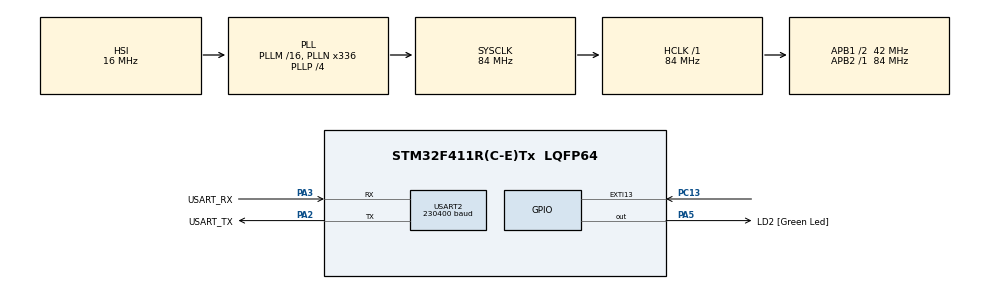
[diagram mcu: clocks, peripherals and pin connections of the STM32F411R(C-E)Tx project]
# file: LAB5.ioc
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Dma.Request0=USART2_TX
Dma.USART2_TX.0.Direction=DMA_MEMORY_TO_PERIPH
Dma.USART2_TX.0.FIFOMode=DMA_FIFOMODE_DISABLE
Dma.USART2_TX.0.Instance=DMA1_Stream6
Dma.USART2_TX.0.MemDataAlignment=DMA_MDATAALIGN_BYTE
Dma.USART2_TX.0.MemInc=DMA_MINC_ENABLE
Dma.USART2_TX.0.Mode=DMA_NORMAL
Dma.USART2_TX.0.PeriphDataAlignment=DMA_PDATAALIGN_BYTE
Dma.USART2_TX.0.PeriphInc=DMA_PINC_DISABLE
Dma.USART2_TX.0.Priority=DMA_PRIORITY_LOW
Mcu.Family=STM32F4
Mcu.Name=STM32F411R(C-E)Tx
Mcu.Package=LQFP64
NVIC.DMA1_Stream6_IRQn=true\:0\:0\:false\:false\:true\:false\:true\:true
NVIC.EXTI15_10_IRQn=true\:0\:0\:false\:false\:true\:true\:true\:true
NVIC.PriorityGroup=NVIC_PRIORITYGROUP_0
NVIC.USART2_IRQn=true\:0\:0\:false\:false\:true\:true\:true\:true
PA13.GPIO_Label=TMS
PA13.Mode=Serial_Wire
PA13.Signal=SYS_JTMS-SWDIO
PA14.GPIO_Label=TCK
PA14.Mode=Serial_Wire
PA14.Signal=SYS_JTCK-SWCLK
PA2.GPIO_Label=USART_TX
PA2.Mode=Asynchronous
PA2.Signal=USART2_TX
PA3.GPIO_Label=USART_RX
PA3.Mode=Asynchronous
PA3.Signal=USART2_RX
PA5.GPIO_Label=LD2 [Green Led]
PA5.Signal=GPIO_Output
PB3.GPIO_Label=SWO
PB3.Signal=SYS_JTDO-SWO
PC13-ANTI_TAMP.GPIO_ModeDefaultEXTI=GPIO_MODE_IT_RISING_FALLING
PC13-ANTI_TAMP.Signal=GPXTI13
PC14-OSC32_IN.Mode=LSE-External-Oscillator
PC14-OSC32_IN.Signal=RCC_OSC32_IN
PC15-OSC32_OUT.Mode=LSE-External-Oscillator
PC15-OSC32_OUT.Signal=RCC_OSC32_OUT
PH0\ -\ OSC_IN.Mode=HSE-External-Clock-Source
PH0\ -\ OSC_IN.Signal=RCC_OSC_IN
PH1\ -\ OSC_OUT.Mode=HSE-External-Clock-Source
PH1\ -\ OSC_OUT.Signal=RCC_OSC_OUT
ProjectManager.HeapSize=0x200
ProjectManager.StackSize=0x400
ProjectManager.TargetToolchain=STM32CubeIDE
RCC.48MHZClocksFreq_Value=84000000
RCC.AHBFreq_Value=84000000
RCC.APB1CLKDivider=RCC_HCLK_DIV2
RCC.APB1Freq_Value=42000000
RCC.APB1TimFreq_Value=84000000
RCC.APB2Freq_Value=84000000
RCC.APB2TimFreq_Value=84000000
RCC.CortexFreq_Value=84000000
RCC.FLatency-AdvancedSettings=FLASH_LATENCY_2
RCC.HCLKFreq_Value=84000000
RCC.HSE_VALUE=8000000
RCC.HSI_VALUE=16000000
RCC.PLLN=336
RCC.PLLP=RCC_PLLP_DIV4
RCC.SYSCLKFreq_VALUE=84000000
RCC.SYSCLKSource=RCC_SYSCLKSOURCE_PLLCLK
RCC.VCOOutputFreq_Value=336000000
USART2.BaudRate=230400
USART2.VirtualMode=VM_ASYNC
board=NUCLEO-F411RE

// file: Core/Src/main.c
/* USER CODE BEGIN Header */
/**
  ******************************************************************************
  * @file           : main.c
  * @brief          : Main program body
  ******************************************************************************
  * @attention
  *
  * Copyright (c) 2023 STMicroelectronics.
  * All rights reserved.
  *
  * This software is licensed under terms that can be found in the LICENSE file
  * in the root directory of this software component.
  * If no LICENSE file comes with this software, it is provided AS-IS.
  *
  ******************************************************************************
  */
/* USER CODE END Header */
#include "main.h"

/* USER CODE BEGIN Includes */
#include "stdio.h"
#include "string.h"
/* USER CODE END Includes */

UART_HandleTypeDef huart2;
DMA_HandleTypeDef hdma_usart2_tx;

/* USER CODE BEGIN PV */
uint8_t RxBuffer;
uint8_t TxBuffer[100];
/* USER CODE END PV */

void SystemClock_Config(void);
static void MX_GPIO_Init(void);
static void MX_DMA_Init(void);
static void MX_USART2_UART_Init(void);
/* USER CODE BEGIN PFP */
void BlinkLED();
void UARTConfig();
/* USER CODE END PFP */

/* USER CODE BEGIN 0 */
uint16_t frequency = 1;

enum
{
	LED_ON = 0,
	LED_OFF = 1,
	Button_check = 2
};
uint16_t state = LED_ON;
uint16_t last_state;

/* USER CODE END 0 */

int main(void)
{

  /* MCU Configuration--------------------------------------------------------*/

  /* Reset of all peripherals, Initializes the Flash interface and the Systick. */
  HAL_Init();

  /* Configure the system clock */
  SystemClock_Config();

  /* Initialize all configured peripherals */
  MX_GPIO_Init();
  MX_DMA_Init();
  MX_USART2_UART_Init();
  /* USER CODE BEGIN 2 */
  UARTConfig();
  HAL_UART_Transmit_DMA(&huart2,  " a : speed up\r\n s : speed down\r\n d : off\r\n x : button status\r\n\r\n\r\n\r\n\r\n\r\n\r\n\r\n\r\n\r\n\r\n\r\n\r\n\r\n",
  													strlen(" a : speed up\r\n s : speed down\r\n d : off\r\n x : button status\r\n\r\n\r\n\r\n\r\n\r\n\r\n\r\n\r\n\r\n\r\n\r\n\r\n\r\n"));
  /* USER CODE END 2 */

  /* Infinite loop */
	while (1)
	{
		switch (state) {
			case LED_ON:
				BlinkLED();
				break;
			case LED_OFF:
				HAL_GPIO_WritePin(GPIOA, GPIO_PIN_5, 0);
			case Button_check:
				BlinkLED();
			default:
				break;
  }
}
}

void SystemClock_Config(void)
{
  RCC_OscInitTypeDef RCC_OscInitStruct = {0};
  RCC_ClkInitTypeDef RCC_ClkInitStruct = {0};

  /** Configure the main internal regulator output voltage
  */
  __HAL_RCC_PWR_CLK_ENABLE();
  __HAL_PWR_VOLTAGESCALING_CONFIG(PWR_REGULATOR_VOLTAGE_SCALE1);

  /** Initializes the RCC Oscillators according to the specified parameters
  * in the RCC_OscInitTypeDef structure.
  */
  RCC_OscInitStruct.OscillatorType = RCC_OSCILLATORTYPE_HSI;
  RCC_OscInitStruct.HSIState = RCC_HSI_ON;
  RCC_OscInitStruct.HSICalibrationValue = RCC_HSICALIBRATION_DEFAULT;
  RCC_OscInitStruct.PLL.PLLState = RCC_PLL_ON;
  RCC_OscInitStruct.PLL.PLLSource = RCC_PLLSOURCE_HSI;
  RCC_OscInitStruct.PLL.PLLM = 16;
  RCC_OscInitStruct.PLL.PLLN = 336;
  RCC_OscInitStruct.PLL.PLLP = RCC_PLLP_DIV4;
  RCC_OscInitStruct.PLL.PLLQ = 4;
  if (HAL_RCC_OscConfig(&RCC_OscInitStruct) != HAL_OK)
  {
    Error_Handler();
  }

  /** Initializes the CPU, AHB and APB buses clocks
  */
  RCC_ClkInitStruct.ClockType = RCC_CLOCKTYPE_HCLK|RCC_CLOCKTYPE_SYSCLK
                              |RCC_CLOCKTYPE_PCLK1|RCC_CLOCKTYPE_PCLK2;
  RCC_ClkInitStruct.SYSCLKSource = RCC_SYSCLKSOURCE_PLLCLK;
  RCC_ClkInitStruct.AHBCLKDivider = RCC_SYSCLK_DIV1;
  RCC_ClkInitStruct.APB1CLKDivider = RCC_HCLK_DIV2;
  RCC_ClkInitStruct.APB2CLKDivider = RCC_HCLK_DIV1;

  if (HAL_RCC_ClockConfig(&RCC_ClkInitStruct, FLASH_LATENCY_2) != HAL_OK)
  {
    Error_Handler();
  }
}

static void MX_USART2_UART_Init(void)
{

  huart2.Instance = USART2;
  huart2.Init.BaudRate = 230400;
  huart2.Init.WordLength = UART_WORDLENGTH_8B;
  huart2.Init.StopBits = UART_STOPBITS_1;
  huart2.Init.Parity = UART_PARITY_NONE;
  huart2.Init.Mode = UART_MODE_TX_RX;
  huart2.Init.HwFlowCtl = UART_HWCONTROL_NONE;
  huart2.Init.OverSampling = UART_OVERSAMPLING_16;
  if (HAL_UART_Init(&huart2) != HAL_OK)
  {
    Error_Handler();
  }

}

static void MX_DMA_Init(void)
{

  /* DMA controller clock enable */
  __HAL_RCC_DMA1_CLK_ENABLE();

  /* DMA interrupt init */
  /* DMA1_Stream6_IRQn interrupt configuration */
  HAL_NVIC_SetPriority(DMA1_Stream6_IRQn, 0, 0);
  HAL_NVIC_EnableIRQ(DMA1_Stream6_IRQn);

}

static void MX_GPIO_Init(void)
{
  GPIO_InitTypeDef GPIO_InitStruct = {0};

  /* GPIO Ports Clock Enable */
  __HAL_RCC_GPIOC_CLK_ENABLE();
  __HAL_RCC_GPIOH_CLK_ENABLE();
  __HAL_RCC_GPIOA_CLK_ENABLE();
  __HAL_RCC_GPIOB_CLK_ENABLE();

  /*Configure GPIO pin Output Level */
  HAL_GPIO_WritePin(LD2_GPIO_Port, LD2_Pin, GPIO_PIN_RESET);

  /*Configure GPIO pin : PC13 */
  GPIO_InitStruct.Pin = GPIO_PIN_13;
  GPIO_InitStruct.Mode = GPIO_MODE_IT_RISING_FALLING;
  GPIO_InitStruct.Pull = GPIO_NOPULL;
  HAL_GPIO_Init(GPIOC, &GPIO_InitStruct);

  /*Configure GPIO pin : LD2_Pin */
  GPIO_InitStruct.Pin = LD2_Pin;
  GPIO_InitStruct.Mode = GPIO_MODE_OUTPUT_PP;
  GPIO_InitStruct.Pull = GPIO_NOPULL;
  GPIO_InitStruct.Speed = GPIO_SPEED_FREQ_LOW;
  HAL_GPIO_Init(LD2_GPIO_Port, &GPIO_InitStruct);

  /* EXTI interrupt init*/
  HAL_NVIC_SetPriority(EXTI15_10_IRQn, 0, 0);
  HAL_NVIC_EnableIRQ(EXTI15_10_IRQn);

}

/* USER CODE BEGIN 4 */
void BlinkLED()
{
	static uint32_t timestamp = 0;
	if (HAL_GetTick() > timestamp)
	{
	  timestamp = HAL_GetTick() + (500/frequency);
	  HAL_GPIO_TogglePin(GPIOA, GPIO_PIN_5);
	}
}
void FNState(char key)
{
	switch (state) {
		case LED_ON:
			if(key == 'a')
			{
				frequency += 1;

			}
			else if (key == 's')
			{
				if (frequency > 1)
				{
					frequency -= 1;
				}
			}
			else if (key == 'd')
			{
				HAL_UART_Transmit_DMA(&huart2,  " a : speed up\r\n s : speed down\r\n d : on\r\n x : button status\r\n\r\n\r\n\r\n\r\n\r\n\r\n\r\n\r\n\r\n\r\n\r\n\r\n\r\n",
								  													strlen(" a : speed up\r\n s : speed down\r\n d : off\r\n x : button status\r\n\r\n\r\n\r\n\r\n\r\n\r\n\r\n\r\n\r\n\r\n\r\n\r\n\r\n"));
				state = LED_OFF;
			}
			else if (key == 'x')
			{
				HAL_UART_Transmit_DMA(&huart2,  " Button not Push\r\n x : back\r\n\r\n\r\n\r\n\r\n\r\n\r\n\r\n\r\n\r\n\r\n\r\n\r\n\r\n\r\n\r\n",
						strlen(" Button not Push\r\n x : back\r\n\r\n\r\n\r\n\r\n\r\n\r\n\r\n\r\n\r\n\r\n\r\n\r\n\r\n\r\n\r\n"));
				last_state = LED_ON;
				state = Button_check;
			}

			break;
		case LED_OFF:

			if(key == 'd')
			{
				state = LED_ON;
				HAL_UART_Transmit_DMA(&huart2,  " a : speed up\r\n s : speed down\r\n d : off\r\n x : button status\r\n\r\n\r\n\r\n\r\n\r\n\r\n\r\n\r\n\r\n\r\n\r\n\r\n\r\n",
				  													strlen(" a : speed up\r\n s : speed down\r\n d : off\r\n x : button status\r\n\r\n\r\n\r\n\r\n\r\n\r\n\r\n\r\n\r\n\r\n\r\n\r\n\r\n"));
			}
			else if(key == 'x')
			{
				HAL_UART_Transmit_DMA(&huart2,  " Button not Push\r\n x : back\r\n\r\n\r\n\r\n\r\n\r\n\r\n\r\n\r\n\r\n\r\n\r\n\r\n\r\n\r\n\r\n",
						strlen(" Button not Push\r\n x : back\r\n\r\n\r\n\r\n\r\n\r\n\r\n\r\n\r\n\r\n\r\n\r\n\r\n\r\n\r\n\r\n"));
				last_state = LED_OFF;
				state = Button_check;

			}
		case Button_check:

			if(key == 'x' && last_state == LED_ON)
			{
				HAL_UART_Transmit_DMA(&huart2,  " a : speed up\r\n s : speed down\r\n d : off\r\n x : button status\r\n\r\n\r\n\r\n\r\n\r\n\r\n\r\n\r\n\r\n\r\n\r\n\r\n\r\n",
												  													strlen(" a : speed up\r\n s : speed down\r\n d : off\r\n x : button status\r\n\r\n\r\n\r\n\r\n\r\n\r\n\r\n\r\n\r\n\r\n\r\n\r\n\r\n"));
				state = LED_ON;
			}
			else if(key == 'x' && last_state == LED_OFF)
			{
				HAL_UART_Transmit_DMA(&huart2,  " a : speed up\r\n s : speed down\r\n d : off\r\n x : back\r\n\r\n\r\n\r\n\r\n\r\n\r\n\r\n\r\n\r\n\r\n\r\n\r\n\r\n",
												  													strlen(" a : speed up\r\n b : speed down\r\n d : on\r\n x : back\r\n\r\n\r\n\r\n\r\n\r\n\r\n\r\n\r\n\r\n\r\n\r\n\r\n\r\n"));
				state = LED_OFF;
			}

			break;
		default:
			break;
	}
}
void UARTConfig()
{
	HAL_UART_Receive_IT(&huart2, &RxBuffer, 1);
}

void HAL_UART_RxCpltCallback(UART_HandleTypeDef *huart) {
  if (huart == &huart2)
  {
	HAL_UART_Receive_IT(&huart2, &RxBuffer, 1);
    FNState(RxBuffer);
  }
}
void HAL_GPIO_EXTI_Callback(uint16_t GPIO_Pin)
{

	if(GPIO_Pin == GPIO_PIN_13 && state == Button_check)
	{

		if(HAL_GPIO_ReadPin(GPIOC, GPIO_PIN_13))
		{
			HAL_UART_Transmit_DMA(&huart2,  " Button not Push\r\n x : back\r\n\r\n\r\n\r\n\r\n\r\n\r\n\r\n\r\n\r\n\r\n\r\n\r\n\r\n\r\n\r\n",
									strlen(" Button not Push\r\n x : back\r\n\r\n\r\n\r\n\r\n\r\n\r\n\r\n\r\n\r\n\r\n\r\n\r\n\r\n\r\n\r\n"));
		}
		else
		{
			HAL_UART_Transmit_DMA(&huart2,  " Button Pushed\r\n x : back\r\n\r\n\r\n\r\n\r\n\r\n\r\n\r\n\r\n\r\n\r\n\r\n\r\n\r\n\r\n\r\n",
									strlen(" Button Pushed\r\n x : back\r\n\r\n\r\n\r\n\r\n\r\n\r\n\r\n\r\n\r\n\r\n\r\n\r\n\r\n\r\n\r\n"));
		}
	}
}
/* USER CODE END 4 */

void Error_Handler(void)
{
  __disable_irq();
  while (1)
  {
  }
}
